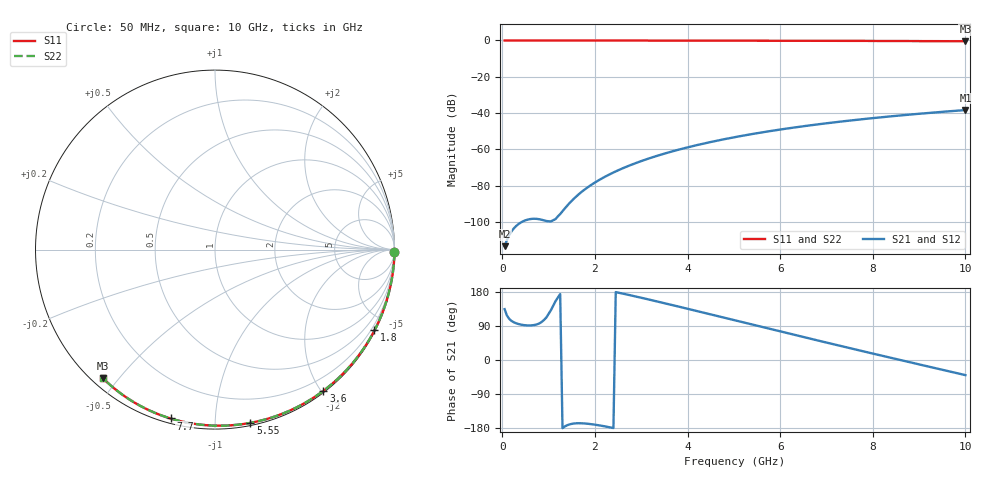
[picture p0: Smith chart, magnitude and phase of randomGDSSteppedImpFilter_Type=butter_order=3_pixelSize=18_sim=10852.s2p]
! freq	dB(S11)	phase(S11)	dB(S12)	phase(S12)
!  dB(S21)	phase(S21)	dB(S22)	phase(S22)
!S-par simulation data
#  GHz  S  DB  R 50
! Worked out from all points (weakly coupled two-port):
!   200 points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, 50 MHz to 10 GHz, reference 50 ohm
!   highest |S21| = -38.37 dB at 10 GHz (marker M1); lowest = -113.4 dB at 50 MHz (marker M2)
!   lowest |S11| = -0.4 dB at 10 GHz (marker M3), VSWR 39.27, Z = 1.54 - j22.7 ohm
!   |S11| at or under -10 dB: nowhere
!   |S22| runs from -0.4 to 0.0 dB; largest |S21 - S12| = 0
!   S11 on the Smith chart (normalised r, x): 50 MHz: open; 1.8 GHz: 0.04, -4.19; 3.6 GHz: 0.02, -2.03; 5.55 GHz: 0.02, -1.22; 7.7 GHz: 0.02, -0.77; 10 GHz: 0.03, -0.45
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0.05  -0.00 -0.8  -113.38 134.1  -113.38 134.1  -0.00 -0.8
0.45  -0.01 -6.8  -99.66 92.4  -99.66 92.4  -0.01 -6.8
0.9  -0.02 -13.6  -99.18 105.6  -99.18 105.6  -0.02 -13.6
1.75  -0.03 -26.1  -82.71 -167.3  -82.71 -167.3  -0.03 -26.1
1.8  -0.03 -26.9  -81.75 -167.7  -81.75 -167.7  -0.03 -26.9
1.9  -0.04 -28.3  -79.95 -169.0  -79.95 -169.0  -0.04 -28.3
2.05  -0.04 -30.5  -77.52 -171.6  -77.52 -171.6  -0.04 -30.5
2.25  -0.04 -33.4  -74.67 -175.9  -74.67 -175.9  -0.04 -33.4
2.45  -0.05 -36.3  -72.16 179.2  -72.16 179.2  -0.05 -36.3
2.65  -0.05 -39.2  -69.92 173.9  -69.92 173.9  -0.05 -39.2
3  -0.06 -44.1  -66.49 164.3  -66.49 164.3  -0.06 -44.1
3.4  -0.07 -49.7  -63.14 152.8  -63.14 152.8  -0.07 -49.7
3.6  -0.07 -52.5  -61.64 147.0  -61.64 147.0  -0.07 -52.5
4.3  -0.09 -62.1  -57.11 126.3  -57.11 126.3  -0.09 -62.1
5.05  -0.11 -72.0  -53.16 104.0  -53.16 104.0  -0.11 -72.0
5.55  -0.13 -78.4  -50.91 89.0  -50.91 89.0  -0.13 -78.4
6.1  -0.15 -85.4  -48.72 72.6  -48.72 72.6  -0.15 -85.4
6.7  -0.18 -92.8  -46.61 54.8  -46.61 54.8  -0.18 -92.8
7.7  -0.24 -104.8  -43.60 25.6  -43.60 25.6  -0.24 -104.8
8.35  -0.29 -112.3  -41.92 6.9  -41.92 6.9  -0.29 -112.3
9.15  -0.36 -121.5  -40.08 -15.8  -40.08 -15.8  -0.36 -121.5
10  -0.44 -131.1  -38.37 -39.9  -38.37 -39.9  -0.44 -131.1
